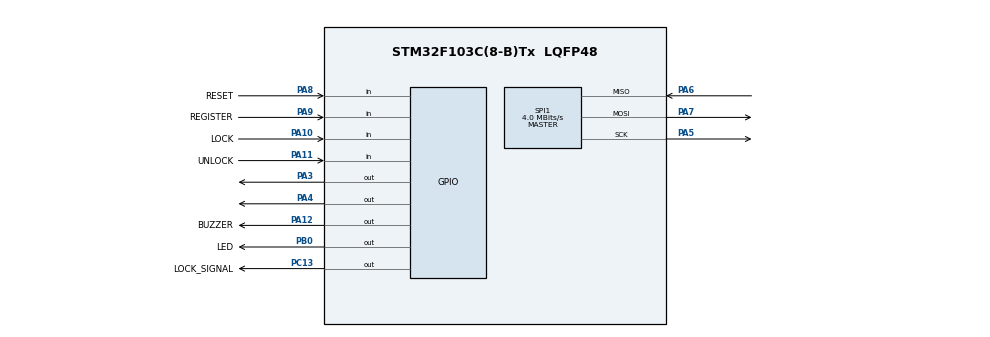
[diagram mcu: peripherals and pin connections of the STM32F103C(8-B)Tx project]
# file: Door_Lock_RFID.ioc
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Mcu.Family=STM32F1
Mcu.Name=STM32F103C(8-B)Tx
Mcu.Package=LQFP48
NVIC.PriorityGroup=NVIC_PRIORITYGROUP_4
NVIC.TIM2_IRQn=true\:0\:0\:false\:false\:true\:true\:true\:true
PA10.GPIO_Label=LOCK
PA10.GPIO_PuPd=GPIO_PULLUP
PA10.Signal=GPIO_Input
PA11.GPIO_Label=UNLOCK
PA11.GPIO_PuPd=GPIO_PULLUP
PA11.Signal=GPIO_Input
PA12.GPIO_Label=BUZZER
PA12.Signal=GPIO_Output
PA13.Mode=Serial_Wire
PA13.Signal=SYS_JTMS-SWDIO
PA14.Mode=Serial_Wire
PA14.Signal=SYS_JTCK-SWCLK
PA3.Signal=GPIO_Output
PA4.Signal=GPIO_Output
PA5.Mode=Full_Duplex_Master
PA5.Signal=SPI1_SCK
PA6.Mode=Full_Duplex_Master
PA6.Signal=SPI1_MISO
PA7.Mode=Full_Duplex_Master
PA7.Signal=SPI1_MOSI
PA8.GPIO_Label=RESET
PA8.GPIO_PuPd=GPIO_PULLUP
PA8.Signal=GPIO_Input
PA9.GPIO_Label=REGISTER
PA9.GPIO_PuPd=GPIO_PULLUP
PA9.Signal=GPIO_Input
PB0.GPIO_Label=LED
PB0.Signal=GPIO_Output
PC13-TAMPER-RTC.GPIO_Label=LOCK_SIGNAL
PC13-TAMPER-RTC.Signal=GPIO_Output
PD0-OSC_IN.Mode=HSE-External-Oscillator
PD0-OSC_IN.Signal=RCC_OSC_IN
PD1-OSC_OUT.Mode=HSE-External-Oscillator
PD1-OSC_OUT.Signal=RCC_OSC_OUT
ProjectManager.HeapSize=0x200
ProjectManager.StackSize=0x400
ProjectManager.TargetToolchain=STM32CubeIDE
RCC.APB1Freq_Value=8000000
RCC.APB2Freq_Value=8000000
SPI1.BaudRatePrescaler=SPI_BAUDRATEPRESCALER_2
SPI1.CalculateBaudRate=4.0 MBits/s
SPI1.Direction=SPI_DIRECTION_2LINES
SPI1.Mode=SPI_MODE_MASTER
SPI1.VirtualType=VM_MASTER
TIM2.Period=9
TIM2.Prescaler=7999
VP_TIM2_VS_ClockSourceINT.Mode=Internal
board=custom

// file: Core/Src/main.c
/* USER CODE BEGIN Header */
/**
  ******************************************************************************
  * @file           : main.c
  * @brief          : Main program body
  ******************************************************************************
  * @attention
  *
  * <h2><center>&copy; Copyright (c) 2022 STMicroelectronics.
  * All rights reserved.</center></h2>
  *
  * This software component is licensed by ST under BSD 3-Clause license,
  * the "License"; You may not use this file except in compliance with the
  * License. You may obtain a copy of the License at:
  *                        opensource.org/licenses/BSD-3-Clause
  *
  ******************************************************************************
  */
/* USER CODE END Header */
#include "main.h"

/* USER CODE BEGIN Includes */
#include "rc522.h"
#include "button.h"
#include "software_timer.h"
#include "global.h"
#include "fsm.h"
#include "memory_struct.h"
#include "stdio.h"
#include "blinking_led.h"
/* USER CODE END Includes */

SPI_HandleTypeDef hspi1;

TIM_HandleTypeDef htim2;

void SystemClock_Config(void);
static void MX_GPIO_Init(void);
static void MX_SPI1_Init(void);
static void MX_TIM2_Init(void);
/* USER CODE BEGIN PFP */
void SPI_mfrc_Init(void);
/* USER CODE END PFP */

int main(void)
{
  /* USER CODE BEGIN 1 */
	uint8_t str[5];
  /* USER CODE END 1 */

  /* MCU Configuration--------------------------------------------------------*/

  /* Reset of all peripherals, Initializes the Flash interface and the Systick. */
  HAL_Init();

  /* Configure the system clock */
  SystemClock_Config();

  /* Initialize all configured peripherals */
  MX_GPIO_Init();
  MX_SPI1_Init();
  MX_TIM2_Init();
  /* USER CODE BEGIN 2 */
  SPI_mfrc_Init();
  MFRC522_Init();
  HAL_TIM_Base_Start_IT(&htim2);
  reset_buffer();
  /* USER CODE END 2 */

  /* Infinite loop */
  /* USER CODE BEGIN WHILE */
  setTimer5(100);
  while (1)
  {

	  if (timer5_flag==1) {
		  if (MFRC522_Request(PICC_REQIDL, str)==MI_OK) {
			if (MFRC522_Anticoll(str)==MI_OK){
				duplicateID(CARD_BUF, str);
				setTimer5(100);
			}
		  }
	  }
	  fsm_run();

    /* USER CODE END WHILE */

  }
}

void SystemClock_Config(void)
{
  RCC_OscInitTypeDef RCC_OscInitStruct = {0};
  RCC_ClkInitTypeDef RCC_ClkInitStruct = {0};

  /** Initializes the RCC Oscillators according to the specified parameters
  * in the RCC_OscInitTypeDef structure.
  */
  RCC_OscInitStruct.OscillatorType = RCC_OSCILLATORTYPE_HSI;
  RCC_OscInitStruct.HSIState = RCC_HSI_ON;
  RCC_OscInitStruct.HSICalibrationValue = RCC_HSICALIBRATION_DEFAULT;
  RCC_OscInitStruct.PLL.PLLState = RCC_PLL_NONE;
  if (HAL_RCC_OscConfig(&RCC_OscInitStruct) != HAL_OK)
  {
    Error_Handler();
  }

  /** Initializes the CPU, AHB and APB buses clocks
  */
  RCC_ClkInitStruct.ClockType = RCC_CLOCKTYPE_HCLK|RCC_CLOCKTYPE_SYSCLK
                              |RCC_CLOCKTYPE_PCLK1|RCC_CLOCKTYPE_PCLK2;
  RCC_ClkInitStruct.SYSCLKSource = RCC_SYSCLKSOURCE_HSI;
  RCC_ClkInitStruct.AHBCLKDivider = RCC_SYSCLK_DIV1;
  RCC_ClkInitStruct.APB1CLKDivider = RCC_HCLK_DIV1;
  RCC_ClkInitStruct.APB2CLKDivider = RCC_HCLK_DIV1;

  if (HAL_RCC_ClockConfig(&RCC_ClkInitStruct, FLASH_LATENCY_0) != HAL_OK)
  {
    Error_Handler();
  }
}

static void MX_SPI1_Init(void)
{

  /* SPI1 parameter configuration*/
  hspi1.Instance = SPI1;
  hspi1.Init.Mode = SPI_MODE_MASTER;
  hspi1.Init.Direction = SPI_DIRECTION_2LINES;
  hspi1.Init.DataSize = SPI_DATASIZE_8BIT;
  hspi1.Init.CLKPolarity = SPI_POLARITY_LOW;
  hspi1.Init.CLKPhase = SPI_PHASE_1EDGE;
  hspi1.Init.NSS = SPI_NSS_SOFT;
  hspi1.Init.BaudRatePrescaler = SPI_BAUDRATEPRESCALER_2;
  hspi1.Init.FirstBit = SPI_FIRSTBIT_MSB;
  hspi1.Init.TIMode = SPI_TIMODE_DISABLE;
  hspi1.Init.CRCCalculation = SPI_CRCCALCULATION_DISABLE;
  hspi1.Init.CRCPolynomial = 10;
  if (HAL_SPI_Init(&hspi1) != HAL_OK)
  {
    Error_Handler();
  }

}

static void MX_TIM2_Init(void)
{

  TIM_ClockConfigTypeDef sClockSourceConfig = {0};
  TIM_MasterConfigTypeDef sMasterConfig = {0};

  htim2.Instance = TIM2;
  htim2.Init.Prescaler = 7999;
  htim2.Init.CounterMode = TIM_COUNTERMODE_UP;
  htim2.Init.Period = 9;
  htim2.Init.ClockDivision = TIM_CLOCKDIVISION_DIV1;
  htim2.Init.AutoReloadPreload = TIM_AUTORELOAD_PRELOAD_DISABLE;
  if (HAL_TIM_Base_Init(&htim2) != HAL_OK)
  {
    Error_Handler();
  }
  sClockSourceConfig.ClockSource = TIM_CLOCKSOURCE_INTERNAL;
  if (HAL_TIM_ConfigClockSource(&htim2, &sClockSourceConfig) != HAL_OK)
  {
    Error_Handler();
  }
  sMasterConfig.MasterOutputTrigger = TIM_TRGO_RESET;
  sMasterConfig.MasterSlaveMode = TIM_MASTERSLAVEMODE_DISABLE;
  if (HAL_TIMEx_MasterConfigSynchronization(&htim2, &sMasterConfig) != HAL_OK)
  {
    Error_Handler();
  }

}

static void MX_GPIO_Init(void)
{
  GPIO_InitTypeDef GPIO_InitStruct = {0};

  /* GPIO Ports Clock Enable */
  __HAL_RCC_GPIOC_CLK_ENABLE();
  __HAL_RCC_GPIOD_CLK_ENABLE();
  __HAL_RCC_GPIOA_CLK_ENABLE();
  __HAL_RCC_GPIOB_CLK_ENABLE();

  /*Configure GPIO pin Output Level */
  HAL_GPIO_WritePin(LOCK_SIGNAL_GPIO_Port, LOCK_SIGNAL_Pin, GPIO_PIN_RESET);

  /*Configure GPIO pin Output Level */
  HAL_GPIO_WritePin(GPIOA, GPIO_PIN_3|GPIO_PIN_4|BUZZER_Pin, GPIO_PIN_RESET);

  /*Configure GPIO pin Output Level */
  HAL_GPIO_WritePin(LED_GPIO_Port, LED_Pin, GPIO_PIN_RESET);

  /*Configure GPIO pin : LOCK_SIGNAL_Pin */
  GPIO_InitStruct.Pin = LOCK_SIGNAL_Pin;
  GPIO_InitStruct.Mode = GPIO_MODE_OUTPUT_PP;
  GPIO_InitStruct.Pull = GPIO_NOPULL;
  GPIO_InitStruct.Speed = GPIO_SPEED_FREQ_LOW;
  HAL_GPIO_Init(LOCK_SIGNAL_GPIO_Port, &GPIO_InitStruct);

  /*Configure GPIO pins : PA3 PA4 BUZZER_Pin */
  GPIO_InitStruct.Pin = GPIO_PIN_3|GPIO_PIN_4|BUZZER_Pin;
  GPIO_InitStruct.Mode = GPIO_MODE_OUTPUT_PP;
  GPIO_InitStruct.Pull = GPIO_NOPULL;
  GPIO_InitStruct.Speed = GPIO_SPEED_FREQ_LOW;
  HAL_GPIO_Init(GPIOA, &GPIO_InitStruct);

  /*Configure GPIO pin : LED_Pin */
  GPIO_InitStruct.Pin = LED_Pin;
  GPIO_InitStruct.Mode = GPIO_MODE_OUTPUT_PP;
  GPIO_InitStruct.Pull = GPIO_NOPULL;
  GPIO_InitStruct.Speed = GPIO_SPEED_FREQ_LOW;
  HAL_GPIO_Init(LED_GPIO_Port, &GPIO_InitStruct);

  /*Configure GPIO pins : RESET_Pin REGISTER_Pin LOCK_Pin UNLOCK_Pin */
  GPIO_InitStruct.Pin = RESET_Pin|REGISTER_Pin|LOCK_Pin|UNLOCK_Pin;
  GPIO_InitStruct.Mode = GPIO_MODE_INPUT;
  GPIO_InitStruct.Pull = GPIO_PULLUP;
  HAL_GPIO_Init(GPIOA, &GPIO_InitStruct);

}

/* USER CODE BEGIN 4 */
void SPI_mfrc_Init(void)
{
	CS_PORT_NAME->ODR |= 1<<CS_PIN_NUM;
}
void HAL_TIM_PeriodElapsedCallback(TIM_HandleTypeDef *htim) {
	timeRun();
	button_reading();
}
/* USER CODE END 4 */

void Error_Handler(void)
{
  __disable_irq();
  while (1)
  {
  }
}
